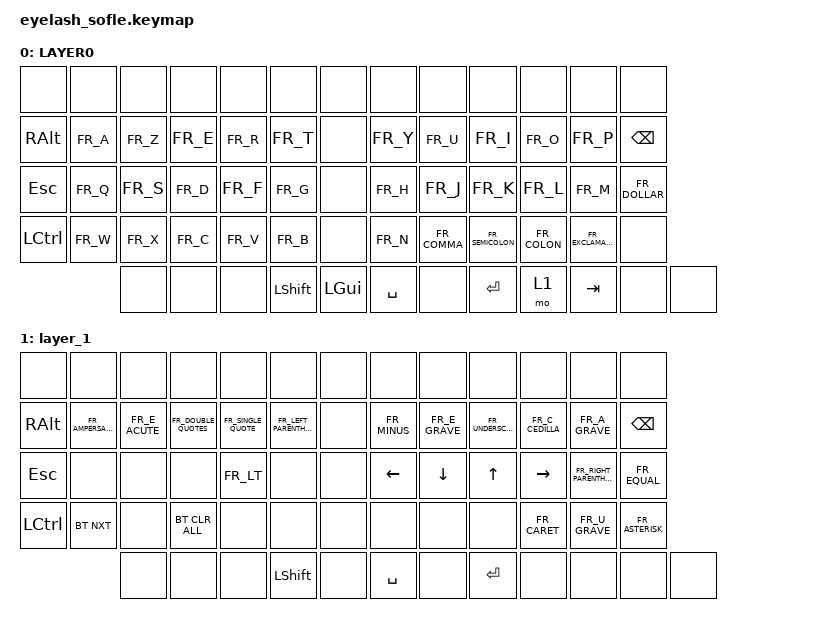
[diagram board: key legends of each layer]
#define ZMK_POINTING_DEFAULT_MOVE_VAL 1200  // 600
#define ZMK_POINTING_DEFAULT_SCRL_VAL 25   // 10

#include <input/processors.dtsi>
#include <zephyr/dt-bindings/input/input-event-codes.h>
#include <behaviors/runtime-sensor-rotate.dtsi>
#include <dt-bindings/zmk/bt.h>
#include <behaviors.dtsi>
#include <dt-bindings/zmk/keys.h>
#include "keys_fr.h"

&mmv_input_listener { input-processors = <&zip_xy_scaler 2 1>; };

&msc_input_listener { input-processors = <&zip_scroll_scaler 2 1>; };

&msc {
    acceleration-exponent = <1>;      // 0
    time-to-max-speed-ms = <100>;       // 300
    delay-ms = <0>;                   // 0
};

&mmv {
    time-to-max-speed-ms = <500>;
    acceleration-exponent = <1>;
    trigger-period-ms = <16>;
};

&soft_off { hold-time-ms = <2000>; };

/ {
    combos {
        compatible = "zmk,combos";

        softoff {
            bindings = <&soft_off>;
            key-positions = <14 28 40>;
        };
    };

    keymap {
        compatible = "zmk,keymap";

        layer0 {
            bindings = <
&none             &none        &none        &none          &none            &none            &none              &none         &none               &none                &none             &none                 &none
&kp RIGHT_ALT     &kp FR_A     &kp FR_Z     &kp FR_E       &kp FR_R         &kp FR_T         &none              &kp FR_Y      &kp FR_U            &kp FR_I             &kp FR_O         &kp FR_P               &kp BACKSPACE
&kp ESCAPE        &kp FR_Q     &kp FR_S     &kp FR_D       &kp FR_F         &kp FR_G         &none              &kp FR_H      &kp FR_J            &kp FR_K             &kp FR_L         &kp FR_M               &kp FR_DOLLAR
&kp LEFT_CONTROL  &kp FR_W     &kp FR_X     &kp FR_C       &kp FR_V         &kp FR_B         &none              &kp FR_N      &kp FR_COMMA        &kp FR_SEMICOLON     &kp FR_COLON     &kp FR_EXCLAMATION     &none
                               &none &none &none &kp LSHIFT &kp LEFT_GUI &kp SPACE &none &kp ENTER &mo 1 &kp TAB &none &none
            >;
            display-name = "LAYER0";
        };

        layer_1 {
            bindings = <
&none             &none            &none          &none                  &none                &none                   &none &none           &none             &none             &none            &none                    &none
&kp RIGHT_ALT     &kp FR_AMPERSAND &kp FR_E_ACUTE &kp FR_DOUBLE_QUOTES   &kp FR_SINGLE_QUOTE  &kp FR_LEFT_PARENTHESIS &none &kp FR_MINUS    &kp FR_E_GRAVE    &kp FR_UNDERSCORE &kp FR_C_CEDILLA &kp FR_A_GRAVE           &kp BACKSPACE
&kp ESCAPE        &none            &none          &none                  &kp FR_LT            &none                   &none &kp LEFT_ARROW  &kp DOWN_ARROW    &kp UP_ARROW      &kp RIGHT_ARROW  &kp FR_RIGHT_PARENTHESIS &kp FR_EQUAL
&kp LEFT_CONTROL  &bt BT_NXT       &none          &bt BT_CLR_ALL         &none                &none                   &none &none           &none             &none             &kp FR_CARET     &kp FR_U_GRAVE           &kp FR_ASTERISK
                                   &none &none &none &kp LSHIFT &none &kp SPACE &none &kp ENTER &none &none &none &none
            >;
        };
    };
};
